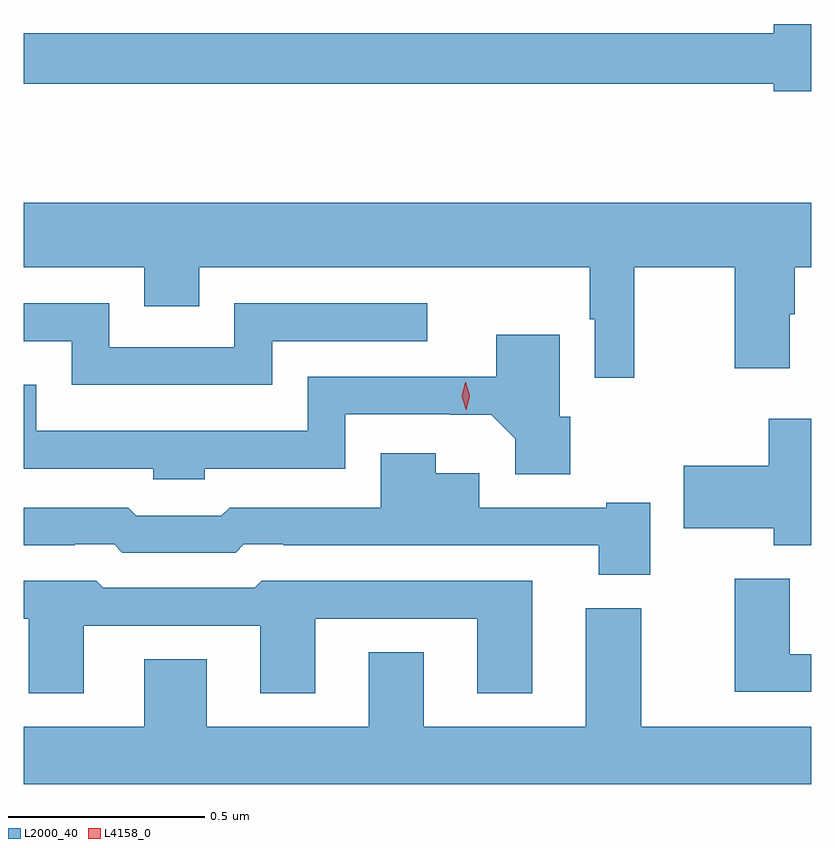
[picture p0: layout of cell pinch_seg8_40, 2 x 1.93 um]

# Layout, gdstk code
import gdstk
lib = gdstk.Library(unit=1e-6, precision=1e-09)
def P(c, l, *ps):  # polygons
    for p in ps: c.add(gdstk.Polygon(p, *l))
L2000_40 = (2000, 40)
L4158_0 = (4158, 0)

pinch_seg8_40 = lib.new_cell('pinch_seg8_40')
P(pinch_seg8_40, L2000_40, [(971.539,1137.098),(971.444,1137.098),(971.444,1137.074),(969.539,1137.074),(969.539,1136.946),(971.444,1136.946),(971.444,1136.927),(971.539,1136.927)],
  [(971.09,1136.48),(971.345,1136.48),(971.345,1136.223),(971.485,1136.223),(971.485,1136.36),(971.498,1136.36),(971.498,1136.48),(971.539,1136.48),(971.539,1136.644),(969.539,1136.644),(969.539,1136.48),(969.845,1136.48),(969.845,1136.381),(969.985,1136.381),(969.985,1136.48),(970.977,1136.48),(970.977,1136.348),(970.989,1136.348),(970.989,1136.199),(971.09,1136.199)],
  [(970.17,1136.292),(970.564,1136.292),(970.564,1136.388),(970.074,1136.388),(970.074,1136.277),(969.756,1136.277),(969.756,1136.388),(969.539,1136.388),(969.539,1136.292),(969.66,1136.292),(969.66,1136.181),(970.17,1136.181)],
  [(969.999,1135.968),(970.356,1135.968),(970.356,1136.106),(970.622,1136.106),(970.622,1136.105),(970.726,1136.105),(970.787,1136.044),(970.787,1135.954),(970.927,1135.954),(970.927,1136.1),(970.9,1136.1),(970.9,1136.308),(970.739,1136.308),(970.739,1136.202),(970.26,1136.202),(970.26,1136.064),(969.57,1136.064),(969.57,1136.181),(969.539,1136.181),(969.539,1135.968),(969.867,1135.968),(969.867,1135.941),(969.999,1135.941)],
  [(971.539,1136.095),(971.432,1136.095),(971.432,1135.975),(971.215,1135.975),(971.215,1135.817),(971.444,1135.817),(971.444,1135.773),(971.539,1135.773)],
  [(971.13,1135.882),(971.018,1135.882),(971.018,1135.869),(970.696,1135.869),(970.696,1135.957),(970.585,1135.957),(970.585,1136.008),(970.445,1136.008),(970.445,1135.869),(970.062,1135.869),(970.041,1135.848),(969.825,1135.848),(969.804,1135.869),(969.539,1135.869),(969.539,1135.773),(969.668,1135.773),(969.668,1135.776),(969.768,1135.776),(969.789,1135.755),(970.077,1135.755),(970.098,1135.776),(970.198,1135.776),(970.198,1135.773),(971,1135.773),(971,1135.699),(971.13,1135.699)],
  [(971.539,1135.497),(971.485,1135.497),(971.485,1135.688),(971.345,1135.688),(971.345,1135.401),(971.539,1135.401)],
  [(969.691,1135.569),(970.139,1135.569),(970.139,1135.397),(970.279,1135.397),(970.279,1135.587),(970.691,1135.587),(970.691,1135.397),(970.831,1135.397),(970.831,1135.683),(970.143,1135.683),(970.125,1135.665),(969.741,1135.665),(969.723,1135.683),(969.539,1135.683),(969.539,1135.587),(969.551,1135.587),(969.551,1135.397),(969.691,1135.397)],
  [(971.539,1135.312),(971.107,1135.312),(971.107,1135.614),(970.967,1135.614),(970.967,1135.312),(970.555,1135.312),(970.555,1135.502),(970.415,1135.502),(970.415,1135.312),(970.003,1135.312),(970.003,1135.484),(969.845,1135.484),(969.845,1135.312),(969.539,1135.312),(969.539,1135.167),(971.539,1135.167)])
P(pinch_seg8_40, L4158_0, [(970.663,1136.117),(970.663,1136.117),(970.652,1136.152),(970.66,1136.188),(970.661,1136.188),(970.661,1136.188),(970.672,1136.153),(970.663,1136.117)])

lib.write_gds('pinch_seg8_40.gds')
